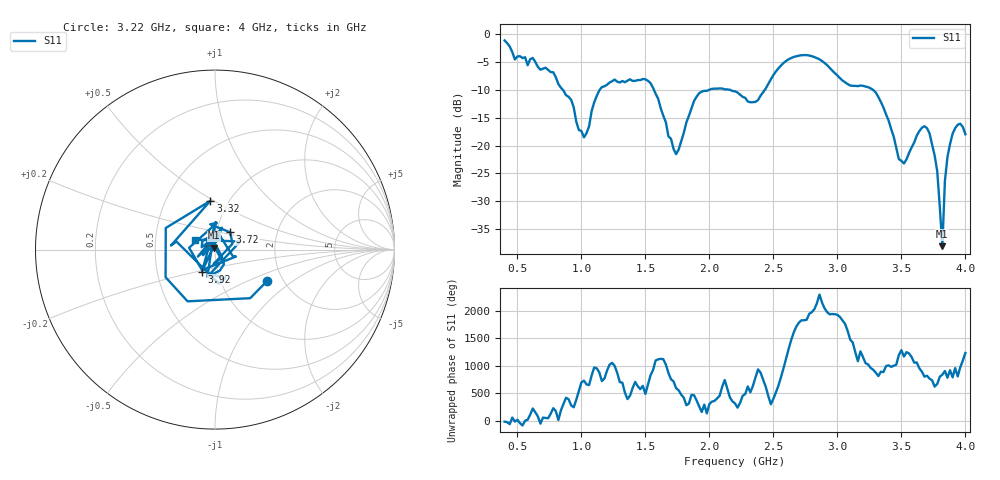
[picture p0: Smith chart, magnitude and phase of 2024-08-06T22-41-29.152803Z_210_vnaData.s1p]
!Created with skrf (http://scikit-rf.org).
# Hz S RI R 50.0
!freq ReS11 ImS11
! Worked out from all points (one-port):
!   181 points, 400 MHz to 4 GHz, reference 50 ohm
!   lowest |S11| = -38.0 dB at 3.82 GHz (marker M1), VSWR 1.03, Z = 49.3 + j1.06 ohm
!   |S11| at or under -10 dB: 855.1 MHz to 1.143 GHz (287.6 MHz wide, 28.8 % of centre); 1.567 GHz to 1.997 GHz (430.2 MHz wide, 24.1 % of centre); 3.279 GHz to end of sweep (the widest 3 of 4)
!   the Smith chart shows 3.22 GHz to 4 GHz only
!   S11 on the Smith chart (normalised r, x): 3.22 GHz: 1.65, -0.66; 3.32 GHz: 0.82, +0.48; 3.72 GHz: 1.16, +0.23; 3.92 GHz: 0.84, -0.21; 4 GHz: 0.79, +0.09
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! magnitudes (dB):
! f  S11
! 400 MHz  -1.1
! 480 MHz  -4.5
! 620 MHz  -4.3
! 860 MHz  -10.1
! 1.02 GHz  -18.5
! 1.14 GHz  -10.1
! 1.3 GHz  -8.7
! 1.54 GHz  -8.8
! 1.72 GHz  -20.6
! 1.76 GHz  -20.7
! 1.92 GHz  -10.6
! 2.2 GHz  -10.3
! 2.36 GHz  -12.2
! 2.66 GHz  -4.1
! 2.86 GHz  -4.5
! 3.1 GHz  -9.2
! 3.22 GHz  -9.4
! 3.32 GHz  -11.3
! 3.48 GHz  -22.4
! 3.56 GHz  -21.3
! 3.66 GHz  -16.8
! 3.72 GHz  -17.8
! 3.78 GHz  -24.6
! 3.82 GHz  -38.0
! 3.84 GHz  -26.3
! 3.86 GHz  -22.0
! 3.92 GHz  -16.9
! 4 GHz  -18.0
